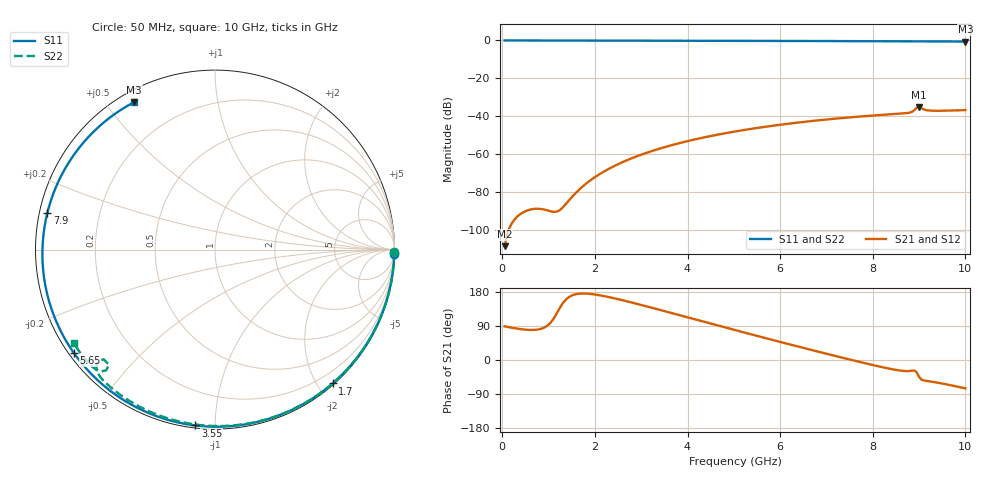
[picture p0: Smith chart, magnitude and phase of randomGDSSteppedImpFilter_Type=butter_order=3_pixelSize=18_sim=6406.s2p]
! freq	dB(S11)	phase(S11)	dB(S12)	phase(S12)
!  dB(S21)	phase(S21)	dB(S22)	phase(S22)
!S-par simulation data
#  GHz  S  DB  R 50
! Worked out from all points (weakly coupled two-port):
!   200 points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, 50 MHz to 10 GHz, reference 50 ohm
!   highest |S21| = -34.99 dB at 9 GHz (marker M1); lowest = -108.3 dB at 50 MHz (marker M2)
!   lowest |S11| = -0.6 dB at 10 GHz (marker M3), VSWR 30.63, Z = 2.2 + j29.6 ohm
!   |S11| at or under -10 dB: nowhere
!   |S22| runs from -1.2 to 0.0 dB; largest |S21 - S12| = 0
!   S11 on the Smith chart (normalised r, x): 50 MHz: 1, -80; 1.7 GHz: 0.02, -2.21; 3.55 GHz: 0.01, -0.89; 5.65 GHz: 0.01, -0.33; 7.9 GHz: 0.02, +0.11; 10 GHz: 0.04, +0.59
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0.05  -0.00 -1.4  -108.29 88.8  -108.29 88.8  -0.00 -0.8
0.8  -0.03 -23.3  -88.63 81.1  -88.63 81.1  -0.02 -13.6
1.6  -0.06 -45.9  -79.94 173.9  -79.94 173.9  -0.03 -27.0
1.7  -0.06 -48.7  -77.62 175.3  -77.62 175.3  -0.04 -28.6
1.75  -0.06 -50.0  -76.56 175.5  -76.56 175.5  -0.04 -29.5
2.05  -0.07 -58.2  -71.15 171.9  -71.15 171.9  -0.04 -34.4
2.45  -0.09 -68.8  -65.72 161.9  -65.72 161.9  -0.05 -40.9
2.9  -0.10 -80.3  -61.03 148.4  -61.03 148.4  -0.06 -48.1
3.4  -0.12 -92.7  -56.92 132.4  -56.92 132.4  -0.07 -56.0
3.55  -0.12 -96.3  -55.85 127.5  -55.85 127.5  -0.08 -58.3
4.25  -0.15 -112.8  -51.59 104.4  -51.59 104.4  -0.10 -69.0
5.05  -0.19 -130.8  -47.82 78.2  -47.82 78.2  -0.12 -80.8
5.65  -0.22 -143.9  -45.54 58.8  -45.54 58.8  -0.15 -89.4
6.7  -0.29 -166.3  -42.36 25.7  -42.36 25.7  -0.20 -104.0
7.9  -0.39 167.7  -39.71 -10.4  -39.71 -10.4  -0.28 -120.1
8.35  -0.43 157.7  -38.94 -22.7  -38.94 -22.7  -0.32 -126.3
8.8  -0.47 147.5  -37.96 -29.0  -37.96 -29.0  -0.47 -133.7
8.95  -0.48 144.0  -35.31 -32.9  -35.31 -32.9  -1.20 -135.5
9  -0.49 142.9  -34.99 -44.5  -34.99 -44.5  -1.19 -132.5
9.1  -0.49 140.5  -36.30 -53.9  -36.30 -53.9  -0.66 -133.0
9.25  -0.51 137.0  -36.94 -56.8  -36.94 -56.8  -0.50 -135.9
10  -0.57 118.7  -36.67 -74.8  -36.67 -74.8  -0.51 -146.6
